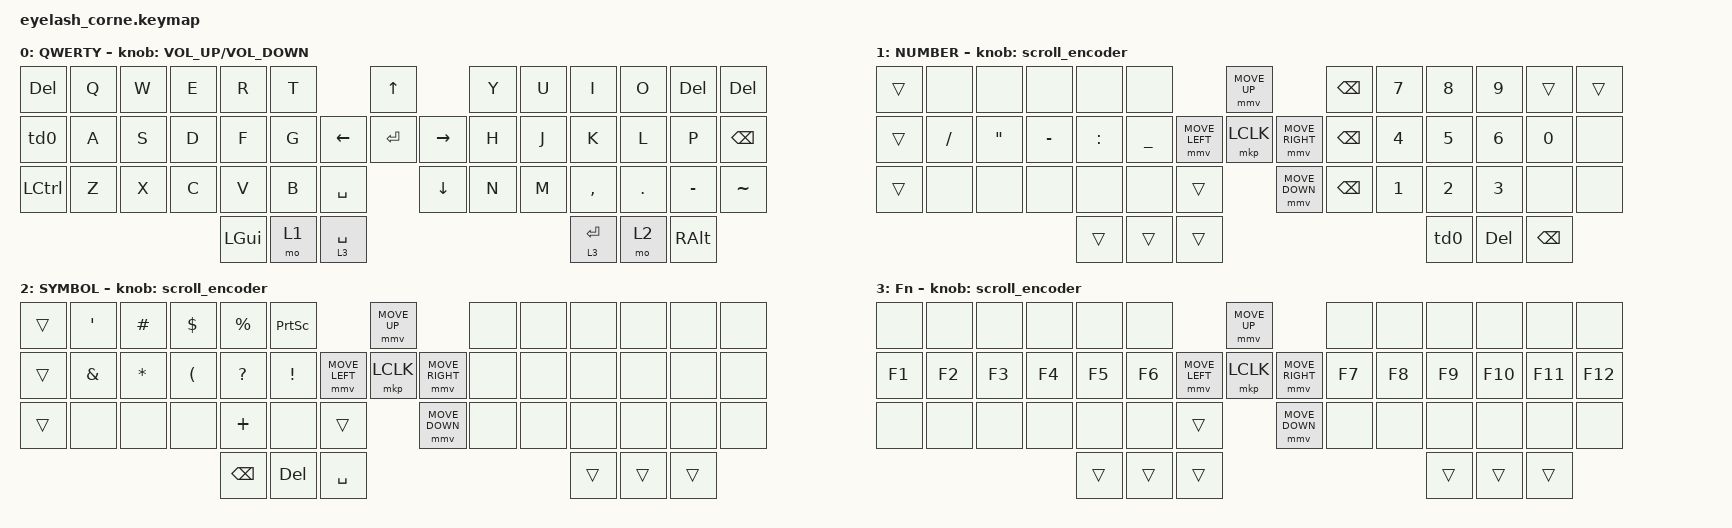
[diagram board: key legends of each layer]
#include <behaviors.dtsi>
#include <dt-bindings/zmk/bt.h>
#include <dt-bindings/zmk/keys.h>
#include <dt-bindings/zmk/mouse.h>
#include <dt-bindings/zmk/outputs.h>
#include <dt-bindings/zmk/rgb.h>

#include <input/processors.dtsi>

/*

   &mmv_input_listener {
       input-processors = <&zip_xy_scaler 2 1>;
   };

   &msc_input_listener {
       input-processors = <&zip_xy_scaler 2 1>;
   };

 */

#define ZMK_MOUSE_DEFAULT_MOVE_VAL 1200  // 600
#define ZMK_MOUSE_DEFAULT_SCRL_VAL 20    // 10

/ {
    behaviors {
        td0: td0 {
            compatible = "zmk,behavior-tap-dance";
            display-name = "Shift/Caps Lock Tap Dance";
            #binding-cells = <0>;
            bindings = <&kp LEFT_SHIFT>, <&kp CAPS>;
        };
    };

    rgb_encoder: rgb_encoder {
        compatible = "zmk,behavior-sensor-rotate";
        #sensor-binding-cells = <0>;
        bindings = <&rgb_ug RGB_BRI>, <&rgb_ug RGB_BRD>;
    };

    scroll_encoder: scroll_encoder {
        compatible = "zmk,behavior-sensor-rotate";
        #sensor-binding-cells = <0>;
        bindings = <&msc SCRL_DOWN>, <&msc SCRL_UP>;
        tap-ms = <30>;
    };

    keymap {
        compatible = "zmk,keymap";

        default_layer {
            display-name = "QWERTY";
            bindings = <
&kp DEL    &kp Q  &kp W  &kp E  &kp R  &kp T                              &kp UP                &kp Y  &kp U  &kp I      &kp O    &kp DEL     &kp DEL
&td0       &kp A  &kp S  &kp D  &kp F  &kp G                    &kp LEFT  &kp ENTER  &kp RIGHT  &kp H  &kp J  &kp K      &kp L    &kp P       &kp BSPC
&kp LCTRL  &kp Z  &kp X  &kp C  &kp V  &kp B       &kp SPACE              &kp DOWN              &kp N  &kp M  &kp COMMA  &kp DOT  &kp MINUS   &kp TILDE
                             &kp LGUI  &mo 1  &lt 3 SPACE                                              &lt 3 ENTER  &mo 2  &kp RALT
            >;
            sensor-bindings = <&inc_dec_kp C_VOLUME_UP C_VOLUME_DOWN>;
        };

        lower_layer {
            display-name = "NUMBER";
            bindings = <
&trans   &none     &none      &none      &none     &none                       &mmv MOVE_UP                     &kp BSPC   &kp N7   &kp N8  &kp N9   &trans     &trans  
&trans  &kp FSLH  &kp DQT  &kp MINUS  &kp COLON  &kp UNDER       &mmv MOVE_LEFT  &mkp LCLK &mmv MOVE_RIGHT    &kp BSPC   &kp N4   &kp N5  &kp N6   &kp N0     &none   
&trans  &none     &none      &none      &none     &none   &trans              &mmv MOVE_DOWN                   &kp BSPC   &kp N1   &kp N2  &kp N3   &none      &none   
                             &trans        &trans        &trans                                        &td0         &kp DEL          &kp BSPC
            >;
            sensor-bindings = <&scroll_encoder>;
        };

        raise_layer {
            display-name = "SYMBOL";
            bindings = <
&trans   &kp APOS    &kp POUND  &kp DLLR   &kp PRCNT  &kp PRINTSCREEN                    &mmv MOVE_UP                     &none   &none  &none   &none  &none   &none
&trans   &kp AMPS    &kp ASTRK   &kp LPAR   &kp QMARK  &kp EXCL            &mmv MOVE_LEFT  &mkp LCLK &mmv MOVE_RIGHT        &none   &none  &none   &none  &none   &none
&trans  &none       &none      &none      &kp PLUS   &none     &trans                   &mmv MOVE_DOWN                   &none   &none  &none   &none  &none   &none   
                                    &kp BSPC     &kp DEL     &kp SPACE                                 &trans   &trans     &trans
            >;
            sensor-bindings = <&scroll_encoder>;
        };

        layer_3 {
            display-name = "Fn";
            bindings = <
&none   &none  &none   &none  &none   &none                              &mmv MOVE_UP                        &none   &none  &none   &none  &none   &none
&kp F1  &kp F2  &kp F3  &kp F4  &kp F5   &kp F6          &mmv MOVE_LEFT  &mkp LCLK   &mmv MOVE_RIGHT         &kp F7  &kp F8  &kp F9  &kp F10  &kp F11   &kp F12
&none   &none  &none   &none  &none   &none   &trans                     &mmv MOVE_DOWN                      &none   &none  &none   &none  &none   &none
                                &trans      &trans      &trans                                         &trans       &trans     &trans
            >;
            sensor-bindings = <&scroll_encoder>;
        };
    };
};
